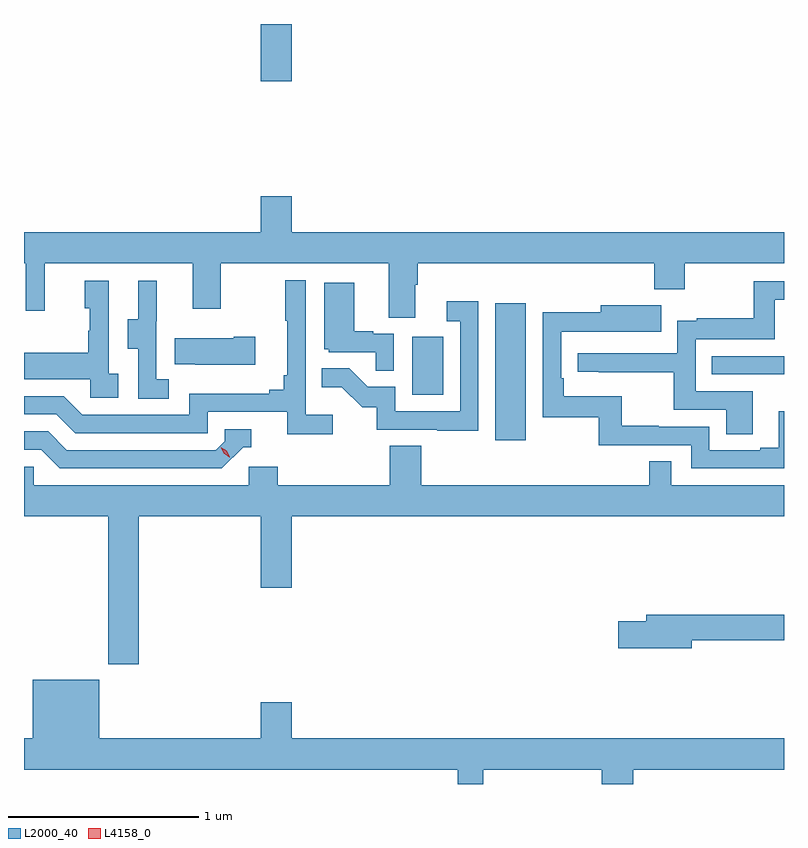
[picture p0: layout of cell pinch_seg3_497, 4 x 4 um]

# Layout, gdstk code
import gdstk
lib = gdstk.Library(unit=1e-6, precision=1e-09)
def R(c, l, rs):  # rectangles x0, y0, x1, y1
    for r in rs: c.add(gdstk.rectangle(r[:2], r[2:], *l))
def P(c, l, *ps):  # polygons
    for p in ps: c.add(gdstk.Polygon(p, *l))
L2000_40 = (2000, 40)
L4158_0 = (4158, 0)

pinch_seg3_497 = lib.new_cell('pinch_seg3_497')
R(pinch_seg3_497, L2000_40, [(993.416,672.012,993.577,672.733), (992.978,672.252,993.142,672.559), (994.555,672.36,994.935,672.456), (992.18,673.902,992.344,674.204)])
P(pinch_seg3_497, L2000_40, [(992.995,672.832),(993.008,672.832),(993.008,672.944),(994.253,672.944),(994.253,672.809),(994.413,672.809),(994.413,672.944),(994.935,672.944),(994.935,673.108),(992.344,673.108),(992.344,673.297),(992.18,673.297),(992.18,673.108),(990.935,673.108),(990.935,672.944),(990.945,672.944),(990.945,672.696),(991.043,672.696),(991.043,672.944),(991.823,672.944),(991.823,672.705),(991.971,672.705),(991.971,672.944),(992.855,672.944),(992.855,672.658),(992.995,672.658)],
  [(992.56,672.148),(992.418,672.148),(992.418,672.856),(992.31,672.856),(992.31,672.643),(992.321,672.643),(992.321,672.355),(992.302,672.355),(992.302,672.278),(992.225,672.278),(992.225,672.259),(991.806,672.259),(991.806,672.147),(991.242,672.147),(991.143,672.246),(990.935,672.246),(990.935,672.15),(991.106,672.15),(991.205,672.051),(991.902,672.051),(991.902,672.162),(992.321,672.162),(992.321,672.046),(992.56,672.046)],
  [(991.696,672.335),(991.632,672.335),(991.632,672.639),(991.634,672.639),(991.634,672.853),(991.535,672.853),(991.535,672.651),(991.481,672.651),(991.481,672.496),(991.536,672.496),(991.536,672.232),(991.696,672.232)],
  [(991.432,672.362),(991.38,672.362),(991.38,672.853),(991.256,672.853),(991.256,672.708),(991.282,672.708),(991.282,672.59),(991.272,672.59),(991.272,672.475),(990.937,672.475),(990.937,672.335),(991.284,672.335),(991.284,672.237),(991.432,672.237)],
  [(994.771,672.27),(994.47,672.27),(994.47,672.546),(994.887,672.546),(994.887,672.752),(994.935,672.752),(994.935,672.849),(994.776,672.849),(994.776,672.655),(994.477,672.655),(994.477,672.643),(994.374,672.643),(994.374,672.471),(993.849,672.471),(993.849,672.375),(993.961,672.375),(993.961,672.37),(994.354,672.37),(994.354,672.174),(994.631,672.174),(994.631,672.046),(994.771,672.046)],
  [(992.88,672.573),(992.774,672.573),(992.774,672.586),(992.674,672.586),(992.674,672.841),(992.516,672.841),(992.516,672.492),(992.538,672.492),(992.538,672.477),(992.785,672.477),(992.785,672.379),(992.88,672.379)],
  [(993.327,672.745),(993.159,672.745),(993.159,672.639),(993.231,672.639),(993.231,672.165),(992.889,672.165),(992.889,672.294),(992.745,672.294),(992.647,672.392),(992.503,672.392),(992.503,672.293),(992.607,672.293),(992.714,672.186),(992.791,672.186),(992.791,672.069),(993.109,672.069),(993.109,672.064),(993.327,672.064)],
  [(994.935,672.167),(994.907,672.167),(994.907,671.974),(994.811,671.974),(994.811,671.961),(994.542,671.961),(994.542,672.084),(994.277,672.084),(994.277,672.089),(994.081,672.089),(994.081,672.244),(993.776,672.244),(993.776,672.34),(993.762,672.34),(993.762,672.585),(994.075,672.585),(994.075,672.584),(994.289,672.584),(994.289,672.724),(993.971,672.724),(993.971,672.686),(993.666,672.686),(993.666,672.135),(993.96,672.135),(993.96,671.988),(994.446,671.988),(994.446,671.865),(994.935,671.865)],
  [(992.152,672.558),(992.039,672.558),(992.039,672.55),(991.729,672.55),(991.729,672.413),(991.837,672.413),(991.837,672.41),(992.152,672.41)],
  [(992.088,671.976),(992.131,671.976),(992.131,672.072),(991.992,672.072),(991.992,672.009),(991.944,671.961),(991.161,671.961),(991.062,672.06),(990.935,672.06),(990.935,671.964),(991.025,671.964),(991.124,671.865),(991.977,671.865)],
  [(991.538,671.612),(992.18,671.612),(992.18,671.238),(992.344,671.238),(992.344,671.612),(994.935,671.612),(994.935,671.776),(994.341,671.776),(994.341,671.903),(994.225,671.903),(994.225,671.776),(993.026,671.776),(993.026,671.984),(992.861,671.984),(992.861,671.776),(992.27,671.776),(992.27,671.874),(992.118,671.874),(992.118,671.776),(990.987,671.776),(990.987,671.874),(990.935,671.874),(990.935,671.612),(991.378,671.612),(991.378,670.833),(991.538,670.833)],
  [(994.45,670.96),(994.935,670.96),(994.935,671.096),(994.211,671.096),(994.211,671.06),(994.062,671.06),(994.062,670.918),(994.45,670.918)],
  [(993.353,670.28),(993.977,670.28),(993.977,670.204),(994.142,670.204),(994.142,670.28),(994.935,670.28),(994.935,670.444),(992.344,670.444),(992.344,670.633),(992.18,670.633),(992.18,670.444),(991.33,670.444),(991.33,670.753),(990.98,670.753),(990.98,670.444),(990.935,670.444),(990.935,670.28),(993.217,670.28),(993.217,670.204),(993.353,670.204)])
P(pinch_seg3_497, L4158_0, [(992.016,671.924),(991.986,671.944),(991.97,671.976),(991.97,671.977),(991.97,671.977),(992.001,671.957),(992.017,671.925),(992.017,671.924)])

lib.write_gds('pinch_seg3_497.gds')
